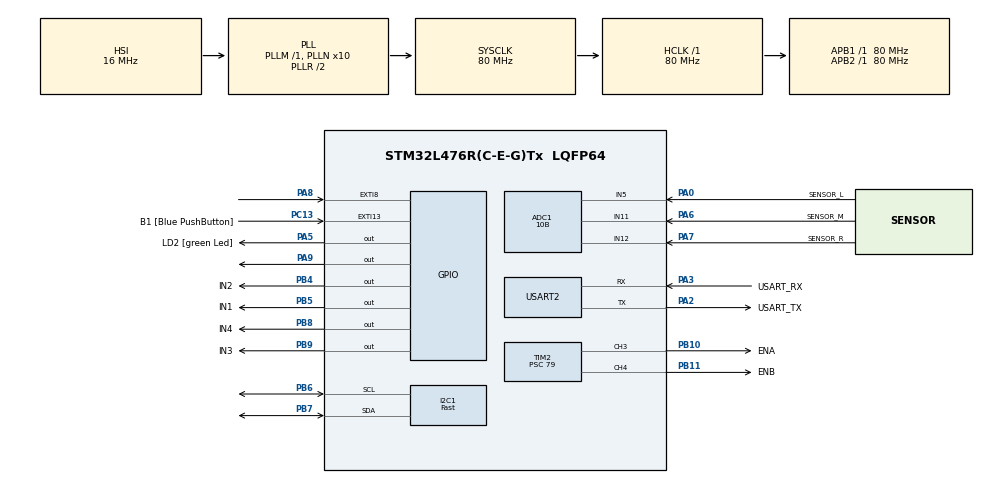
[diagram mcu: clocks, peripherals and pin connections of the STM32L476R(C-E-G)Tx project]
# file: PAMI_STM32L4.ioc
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ADC1.Channel-0\#ChannelRegularConversion=ADC_CHANNEL_5
ADC1.Channel-1\#ChannelRegularConversion=ADC_CHANNEL_11
ADC1.Channel-2\#ChannelRegularConversion=ADC_CHANNEL_12
ADC1.ContinuousConvMode=ENABLE
ADC1.DMAContinuousRequests=DISABLE
ADC1.NbrOfConversion=3
ADC1.NbrOfConversionFlag=1
ADC1.OffsetNumber-0\#ChannelRegularConversion=ADC_OFFSET_NONE
ADC1.OffsetNumber-1\#ChannelRegularConversion=ADC_OFFSET_NONE
ADC1.OffsetNumber-2\#ChannelRegularConversion=ADC_OFFSET_NONE
ADC1.Rank-0\#ChannelRegularConversion=1
ADC1.Rank-1\#ChannelRegularConversion=2
ADC1.Rank-2\#ChannelRegularConversion=3
ADC1.Resolution=ADC_RESOLUTION_10B
ADC1.SamplingTime-0\#ChannelRegularConversion=ADC_SAMPLETIME_247CYCLES_5
ADC1.SamplingTime-1\#ChannelRegularConversion=ADC_SAMPLETIME_247CYCLES_5
ADC1.SamplingTime-2\#ChannelRegularConversion=ADC_SAMPLETIME_247CYCLES_5
ADC1.master=1
I2C1.I2C_Speed_Mode=I2C_Fast
I2C1.Timing=0x00F12981
Mcu.Family=STM32L4
Mcu.Name=STM32L476R(C-E-G)Tx
Mcu.Package=LQFP64
NVIC.ADC1_2_IRQn=true\:1\:0\:true\:false\:true\:true\:true\:true
NVIC.EXTI9_5_IRQn=true\:0\:0\:false\:false\:true\:true\:true\:true
NVIC.PriorityGroup=NVIC_PRIORITYGROUP_4
NVIC.TIM2_IRQn=true\:0\:0\:false\:false\:true\:true\:true\:true
PA0.GPIO_Label=SENSOR_L
PA0.Signal=ADCx_IN5
PA13\ (JTMS-SWDIO).GPIO_Label=TMS
PA13\ (JTMS-SWDIO).Mode=Serial_Wire
PA13\ (JTMS-SWDIO).Signal=SYS_JTMS-SWDIO
PA14\ (JTCK-SWCLK).GPIO_Label=TCK
PA14\ (JTCK-SWCLK).Mode=Serial_Wire
PA14\ (JTCK-SWCLK).Signal=SYS_JTCK-SWCLK
PA2.GPIO_Label=USART_TX
PA2.GPIO_Mode=GPIO_MODE_AF_PP
PA2.GPIO_PuPd=GPIO_NOPULL
PA2.GPIO_Speed=GPIO_SPEED_FREQ_VERY_HIGH
PA2.Mode=Asynchronous
PA2.Signal=USART2_TX
PA3.GPIO_Label=USART_RX
PA3.GPIO_Mode=GPIO_MODE_AF_PP
PA3.GPIO_PuPd=GPIO_NOPULL
PA3.GPIO_Speed=GPIO_SPEED_FREQ_VERY_HIGH
PA3.Mode=Asynchronous
PA3.Signal=USART2_RX
PA5.GPIO_Label=LD2 [green Led]
PA5.GPIO_ModeDefaultOutputPP=GPIO_MODE_OUTPUT_PP
PA5.GPIO_PuPd=GPIO_NOPULL
PA5.GPIO_Speed=GPIO_SPEED_FREQ_LOW
PA5.Signal=GPIO_Output
PA6.GPIO_Label=SENSOR_M
PA6.Signal=ADCx_IN11
PA7.GPIO_Label=SENSOR_R
PA7.Signal=ADCx_IN12
PA8.GPIO_ModeDefaultEXTI=GPIO_MODE_IT_RISING_FALLING
PA8.Signal=GPXTI8
PA9.Signal=GPIO_Output
PB10.GPIO_Label=ENA
PB10.Signal=S_TIM2_CH3
PB11.GPIO_Label=ENB
PB11.Signal=S_TIM2_CH4
PB3\ (JTDO-TRACESWO).GPIO_Label=SWO
PB3\ (JTDO-TRACESWO).Signal=SYS_JTDO-SWO
PB4\ (NJTRST).GPIO_Label=IN2
PB4\ (NJTRST).Signal=GPIO_Output
PB5.GPIO_Label=IN1
PB5.Signal=GPIO_Output
PB6.Mode=I2C
PB6.Signal=I2C1_SCL
PB7.Mode=I2C
PB7.Signal=I2C1_SDA
PB8.GPIO_Label=IN4
PB8.Signal=GPIO_Output
PB9.GPIO_Label=IN3
PB9.Signal=GPIO_Output
PC13.GPIO_Label=B1 [Blue PushButton]
PC13.GPIO_ModeDefaultEXTI=GPIO_MODE_IT_FALLING
PC13.GPIO_PuPd=GPIO_NOPULL
PC13.Signal=GPXTI13
PC14-OSC32_IN\ (PC14).Mode=LSE-External-Oscillator
PC14-OSC32_IN\ (PC14).Signal=RCC_OSC32_IN
PC15-OSC32_OUT\ (PC15).Mode=LSE-External-Oscillator
PC15-OSC32_OUT\ (PC15).Signal=RCC_OSC32_OUT
PH0-OSC_IN\ (PH0).Mode=HSE-External-Oscillator
PH0-OSC_IN\ (PH0).Signal=RCC_OSC_IN
PH1-OSC_OUT\ (PH1).Mode=HSE-External-Oscillator
PH1-OSC_OUT\ (PH1).Signal=RCC_OSC_OUT
ProjectManager.HeapSize=0x200
ProjectManager.StackSize=0x400
ProjectManager.TargetToolchain=STM32CubeIDE
RCC.ADCFreq_Value=64000000
RCC.AHBFreq_Value=80000000
RCC.APB1Freq_Value=80000000
RCC.APB1TimFreq_Value=80000000
RCC.APB2Freq_Value=80000000
RCC.APB2TimFreq_Value=80000000
RCC.CortexFreq_Value=80000000
RCC.HCLKFreq_Value=80000000
RCC.HSE_VALUE=8000000
RCC.HSI_VALUE=16000000
RCC.MSI_VALUE=4000000
RCC.PLLN=10
RCC.PLLSourceVirtual=RCC_PLLSOURCE_HSI
RCC.PREFETCH_ENABLE=1
RCC.SYSCLKFreq_VALUE=80000000
RCC.SYSCLKSource=RCC_SYSCLKSOURCE_PLLCLK
RCC.USBFreq_Value=64000000
RCC.VCOOutputFreq_Value=160000000
SH.ADCx_IN11.0=ADC1_IN11,IN11-Single-Ended
SH.ADCx_IN12.0=ADC1_IN12,IN12-Single-Ended
SH.ADCx_IN5.0=ADC1_IN5,IN5-Single-Ended
SH.S_TIM2_CH3.0=TIM2_CH3,PWM Generation3 CH3
SH.S_TIM2_CH4.0=TIM2_CH4,PWM Generation4 CH4
TIM1.Prescaler=79
TIM2.Channel-PWM\ Generation3\ CH3=TIM_CHANNEL_3
TIM2.Channel-PWM\ Generation4\ CH4=TIM_CHANNEL_4
TIM2.Period=1999
TIM2.Prescaler=79
TIM2.TIM_MasterOutputTrigger=TIM_TRGO_UPDATE
USART2.VirtualMode-Asynchronous=VM_ASYNC
VP_TIM1_VS_ClockSourceINT.Mode=Internal
board=NUCLEO-L476RG

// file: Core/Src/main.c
/* USER CODE BEGIN Header */
/**
  ******************************************************************************
  * @file           : main.c
  * @brief          : Main program body
  ******************************************************************************
  * @attention
  *
  * Copyright (c) 2024 STMicroelectronics.
  * All rights reserved.
  *
  * This software is licensed under terms that can be found in the LICENSE file
  * in the root directory of this software component.
  * If no LICENSE file comes with this software, it is provided AS-IS.
  *
  ******************************************************************************
  */
/* USER CODE END Header */
#include "main.h"

/* USER CODE BEGIN Includes */
#include <stdio.h>
#include <string.h>
/* USER CODE END Includes */

ADC_HandleTypeDef hadc1;

I2C_HandleTypeDef hi2c1;

TIM_HandleTypeDef htim1;
TIM_HandleTypeDef htim2;

UART_HandleTypeDef huart2;

/* USER CODE BEGIN PV */

//For the Radar
#define TRIG_PIN GPIO_PIN_9
#define TRIG_PORT GPIOA
#define ECHO_PIN GPIO_PIN_8
#define ECHO_PORT GPIOA
// Initialize variables for the radar
uint32_t pMillis;
uint32_t Value1 = 0;
uint32_t Value2 = 0;
uint16_t Distance = 0;

/* USER CODE END PV */

void SystemClock_Config(void);
static void MX_GPIO_Init(void);
static void MX_USART2_UART_Init(void);
static void MX_ADC1_Init(void);
static void MX_I2C1_Init(void);
static void MX_TIM1_Init(void);
static void MX_TIM2_Init(void);

/* USER CODE BEGIN PFP */
ADC_ChannelConfTypeDef sConfig;
void HAL_GPIO_EXTI_Callback(uint16_t GPIO_Pin)
{
  static int threshold_state, timer_count;
  if((GPIO_Pin == ECHO_PIN)&&(threshold_state==0)){
	  threshold_state =1;
	  timer_count = __HAL_TIM_GET_COUNTER (&htim1);
  }else if((GPIO_Pin==ECHO_PIN) && (threshold_state ==1)){
	  threshold_state = 0;
	  //int time = (__HAL_TIM_GET_COUNTER (&htim1) - timer_count);
	  Distance = (__HAL_TIM_GET_COUNTER (&htim1) - timer_count)*0.034/2;
	  //__HAL_TIM_SET_COUNTER (&htim1, 0);
  }
}
/* USER CODE END PFP */

/* USER CODE BEGIN 0 */
int __io_putchar(int ch)
{
  HAL_UART_Transmit(&huart2, (uint8_t *)&ch, 1, HAL_MAX_DELAY);
  return ch;
}

// I couldn't configure the ioc file properly with DMAs, so I'm gonna just manually initialise those each time, here's the functions to do so :
// note: they're copied, slightly modified and pasted from lines 382-409 down this file
void ADC_Select_CH1(void){
	/** Configure Regular Channel
	  */
	sConfig.Channel = ADC_CHANNEL_5;
	sConfig.Rank = 1;
	sConfig.SamplingTime = ADC_SAMPLETIME_247CYCLES_5;
	sConfig.SingleDiff = ADC_SINGLE_ENDED;
	sConfig.OffsetNumber = ADC_OFFSET_NONE;
	sConfig.Offset = 0;
	if (HAL_ADC_ConfigChannel(&hadc1, &sConfig) != HAL_OK)
	{
	  Error_Handler();
	}
}
void ADC_Select_CH2(void){

	  /** Configure Regular Channel
	  */
	  sConfig.Channel = ADC_CHANNEL_11;
	  sConfig.Rank = 1;
	  sConfig.SamplingTime = ADC_SAMPLETIME_247CYCLES_5;
	  sConfig.SingleDiff = ADC_SINGLE_ENDED;
	  sConfig.OffsetNumber = ADC_OFFSET_NONE;
	  sConfig.Offset = 0;
	  if (HAL_ADC_ConfigChannel(&hadc1, &sConfig) != HAL_OK)
	  {
	    Error_Handler();
	  }
}

void ADC_Select_CH3(void){
	/** Configure Regular Channel
		  */
		  sConfig.Channel = ADC_CHANNEL_12;
		  sConfig.Rank = 1;
		  sConfig.SamplingTime = ADC_SAMPLETIME_247CYCLES_5;
		  sConfig.SingleDiff = ADC_SINGLE_ENDED;
		  sConfig.OffsetNumber = ADC_OFFSET_NONE;
		  sConfig.Offset = 0;
		  if (HAL_ADC_ConfigChannel(&hadc1, &sConfig) != HAL_OK)
		  {
		    Error_Handler();
		  }
}

uint16_t ADC_VAL[3]; // Array that stores values of those three line traking sensors

int started_to_turn_right =0;
int started_to_turn_left =0;

/* USER CODE END 0 */

int main(void)
{

  /* MCU Configuration--------------------------------------------------------*/

  /* Reset of all peripherals, Initializes the Flash interface and the Systick. */
  HAL_Init();

  /* Configure the system clock */
  SystemClock_Config();

  /* Initialize all configured peripherals */
  MX_GPIO_Init();
  MX_USART2_UART_Init();
  MX_ADC1_Init();
  MX_I2C1_Init();
  MX_TIM1_Init();
  MX_TIM2_Init();
  /* USER CODE BEGIN 2 */
  HAL_TIM_Base_Start(&htim1);
  HAL_GPIO_WritePin(TRIG_PORT, TRIG_PIN, GPIO_PIN_RESET); //pull the TRIG pin low
  HAL_ADCEx_Calibration_Start(&hadc1, ADC_SINGLE_ENDED); //for sensors calibration

  HAL_TIM_PWM_Start(&htim2, TIM_CHANNEL_3); //PB10 TIM2 CH3
  HAL_TIM_PWM_Start(&htim2, TIM_CHANNEL_4); //PB11 TIM2 CH4

  int threshold = 500;  //the threshold for line tracking
  //Stop the motor
  HAL_GPIO_WritePin(GPIOB, GPIO_PIN_4, 0);
  HAL_GPIO_WritePin(GPIOB, GPIO_PIN_5, 0);
  HAL_GPIO_WritePin(GPIOB, GPIO_PIN_8, 0);
  HAL_GPIO_WritePin(GPIOB, GPIO_PIN_9, 0);

  int count_time_init =0;
  int count_time_actu =0;
  /* USER CODE END 2 */

  /* Infinite loop */
  /* USER CODE BEGIN WHILE */

  while (1)
  {
	  // The code for the radar, it prints the distance
	  HAL_GPIO_WritePin(TRIG_PORT, TRIG_PIN, GPIO_PIN_SET);  // pull the TRIG pin HIGH
	  //__HAL_TIM_SET_COUNTER(&htim1, 0);
	  while (__HAL_TIM_GET_COUNTER (&htim1) < 10);  // wait for 10 us
	  HAL_GPIO_WritePin(TRIG_PORT, TRIG_PIN, GPIO_PIN_RESET);  // pull the TRIG pin low
	  __HAL_TIM_SET_COUNTER(&htim1, 0);

	  //Lign tracker part
	  ADC_Select_CH1();
	  HAL_ADC_Start(&hadc1);
	  HAL_ADC_PollForConversion(&hadc1, 1000);
	  ADC_VAL[0] = HAL_ADC_GetValue(&hadc1);
	  HAL_ADC_Stop(&hadc1);

	  ADC_Select_CH2();
	  HAL_ADC_Start(&hadc1);
	  HAL_ADC_PollForConversion(&hadc1, 1000);
	  ADC_VAL[1] = HAL_ADC_GetValue(&hadc1);
	  HAL_ADC_Stop(&hadc1);

	  ADC_Select_CH3();
	  HAL_ADC_Start(&hadc1);
	  HAL_ADC_PollForConversion(&hadc1, 1000);
	  ADC_VAL[2] = HAL_ADC_GetValue(&hadc1);
	  HAL_ADC_Stop(&hadc1);
	  //printf("Left : %d, Mid: %d, Right: %d \r\n", ADC_VAL[0], ADC_VAL[1], ADC_VAL[2]);

	  if(((ADC_VAL[0]<threshold) &&(ADC_VAL[1]>threshold) && (ADC_VAL[2]<threshold))&&(Distance>10)){
		  //Set the rotation direction forward
		  HAL_GPIO_WritePin(GPIOB, GPIO_PIN_4, 0);
		  HAL_GPIO_WritePin(GPIOB, GPIO_PIN_5, 1);
		  HAL_GPIO_WritePin(GPIOB, GPIO_PIN_8, 1);
		  HAL_GPIO_WritePin(GPIOB, GPIO_PIN_9, 0);
		  // Set the speed
		  __HAL_TIM_SET_COMPARE(&htim2,TIM_CHANNEL_3, 1500);
		  __HAL_TIM_SET_COMPARE(&htim2,TIM_CHANNEL_4,1400);
		  count_time_actu =HAL_GetTick();
		  count_time_init =HAL_GetTick();
		  started_to_turn_right = 0;
		  started_to_turn_left = 0;
	  }else if(( (ADC_VAL[0]>threshold)&&(Distance>10)) || (started_to_turn_left==1)){
		  //Stop the left motor
		  HAL_GPIO_WritePin(GPIOB, GPIO_PIN_4, 0);
		  HAL_GPIO_WritePin(GPIOB, GPIO_PIN_5, 1);
		  //right motor rotate foward
		  HAL_GPIO_WritePin(GPIOB, GPIO_PIN_8, 0);
		  HAL_GPIO_WritePin(GPIOB, GPIO_PIN_9, 0); //modif
		  // Set the speed

		  __HAL_TIM_SET_COMPARE(&htim2,TIM_CHANNEL_4, 1000);
		  count_time_actu =HAL_GetTick();
		  count_time_init =HAL_GetTick();
		  started_to_turn_left = 1;
	  }else if(((ADC_VAL[2]>threshold)&&(Distance>10))|| (started_to_turn_right==1)){
		  //left motor rotate foward
		  HAL_GPIO_WritePin(GPIOB, GPIO_PIN_4, 0);  //modif
		  HAL_GPIO_WritePin(GPIOB, GPIO_PIN_5, 0);
		  //Stop the right motor
		  HAL_GPIO_WritePin(GPIOB, GPIO_PIN_8, 1);
		  HAL_GPIO_WritePin(GPIOB, GPIO_PIN_9, 0);
		  // Set the speed
		  __HAL_TIM_SET_COMPARE(&htim2,TIM_CHANNEL_3,1000);

		  count_time_actu =HAL_GetTick();
		  count_time_init =HAL_GetTick();
		  started_to_turn_right = 1;
	  }
	  if(Distance<10){
		  //Stop both motors
		  HAL_GPIO_WritePin(GPIOB, GPIO_PIN_4, 0);
		  HAL_GPIO_WritePin(GPIOB, GPIO_PIN_5, 0);
		  HAL_GPIO_WritePin(GPIOB, GPIO_PIN_8, 0);
		  HAL_GPIO_WritePin(GPIOB, GPIO_PIN_9, 0);
		  count_time_actu =HAL_GetTick();
		  count_time_init =HAL_GetTick();
	  }
	  if(((ADC_VAL[0]<threshold) &&(ADC_VAL[1]<threshold) && (ADC_VAL[2]<threshold))){
	  		  //Set the rotation direction forward
		  	  count_time_actu = HAL_GetTick();
	  		  //if((count_time_actu-count_time_init) !=0){count_time_init =count_time_actu;}
	  		  //printf("count_time_init-HAL_GetTick() = %d \r\n",(count_time_actu-count_time_init));
	  		  if (HAL_GetTick()-count_time_init >800 ){
	  			//Stop both motors
	  			  	  	  //printf("jarrrettee \r\n");
	  					  HAL_GPIO_WritePin(GPIOB, GPIO_PIN_4, 0);
	  					  HAL_GPIO_WritePin(GPIOB, GPIO_PIN_5, 0);
	  					  HAL_GPIO_WritePin(GPIOB, GPIO_PIN_8, 0);
	  					  HAL_GPIO_WritePin(GPIOB, GPIO_PIN_9, 0);
	  					  count_time_init = count_time_actu;
	  		  }
	  }

	  HAL_Delay(5); //If I don't add this the detection with ultrasound might cause pb with relatively long ditances
    // The sound needs time to travel, here each iteration is 20ms, might be too quick, so HAL_Delay here works just fine.

    /* USER CODE END WHILE */

  }
}

void SystemClock_Config(void)
{
  RCC_OscInitTypeDef RCC_OscInitStruct = {0};
  RCC_ClkInitTypeDef RCC_ClkInitStruct = {0};

  /** Configure the main internal regulator output voltage
  */
  if (HAL_PWREx_ControlVoltageScaling(PWR_REGULATOR_VOLTAGE_SCALE1) != HAL_OK)
  {
    Error_Handler();
  }

  /** Initializes the RCC Oscillators according to the specified parameters
  * in the RCC_OscInitTypeDef structure.
  */
  RCC_OscInitStruct.OscillatorType = RCC_OSCILLATORTYPE_HSI;
  RCC_OscInitStruct.HSIState = RCC_HSI_ON;
  RCC_OscInitStruct.HSICalibrationValue = RCC_HSICALIBRATION_DEFAULT;
  RCC_OscInitStruct.PLL.PLLState = RCC_PLL_ON;
  RCC_OscInitStruct.PLL.PLLSource = RCC_PLLSOURCE_HSI;
  RCC_OscInitStruct.PLL.PLLM = 1;
  RCC_OscInitStruct.PLL.PLLN = 10;
  RCC_OscInitStruct.PLL.PLLP = RCC_PLLP_DIV7;
  RCC_OscInitStruct.PLL.PLLQ = RCC_PLLQ_DIV2;
  RCC_OscInitStruct.PLL.PLLR = RCC_PLLR_DIV2;
  if (HAL_RCC_OscConfig(&RCC_OscInitStruct) != HAL_OK)
  {
    Error_Handler();
  }

  /** Initializes the CPU, AHB and APB buses clocks
  */
  RCC_ClkInitStruct.ClockType = RCC_CLOCKTYPE_HCLK|RCC_CLOCKTYPE_SYSCLK
                              |RCC_CLOCKTYPE_PCLK1|RCC_CLOCKTYPE_PCLK2;
  RCC_ClkInitStruct.SYSCLKSource = RCC_SYSCLKSOURCE_PLLCLK;
  RCC_ClkInitStruct.AHBCLKDivider = RCC_SYSCLK_DIV1;
  RCC_ClkInitStruct.APB1CLKDivider = RCC_HCLK_DIV1;
  RCC_ClkInitStruct.APB2CLKDivider = RCC_HCLK_DIV1;

  if (HAL_RCC_ClockConfig(&RCC_ClkInitStruct, FLASH_LATENCY_4) != HAL_OK)
  {
    Error_Handler();
  }
}

static void MX_ADC1_Init(void)
{

  ADC_MultiModeTypeDef multimode = {0};
  ADC_ChannelConfTypeDef sConfig = {0};

  /** Common config
  */
  hadc1.Instance = ADC1;
  hadc1.Init.ClockPrescaler = ADC_CLOCK_ASYNC_DIV1;
  hadc1.Init.Resolution = ADC_RESOLUTION_10B;
  hadc1.Init.DataAlign = ADC_DATAALIGN_RIGHT;
  hadc1.Init.ScanConvMode = ADC_SCAN_ENABLE;
  hadc1.Init.EOCSelection = ADC_EOC_SINGLE_CONV;
  hadc1.Init.LowPowerAutoWait = DISABLE;
  hadc1.Init.ContinuousConvMode = ENABLE;
  hadc1.Init.NbrOfConversion = 3;
  hadc1.Init.DiscontinuousConvMode = DISABLE;
  hadc1.Init.ExternalTrigConv = ADC_SOFTWARE_START;
  hadc1.Init.ExternalTrigConvEdge = ADC_EXTERNALTRIGCONVEDGE_NONE;
  hadc1.Init.DMAContinuousRequests = DISABLE;
  hadc1.Init.Overrun = ADC_OVR_DATA_PRESERVED;
  hadc1.Init.OversamplingMode = DISABLE;
  if (HAL_ADC_Init(&hadc1) != HAL_OK)
  {
    Error_Handler();
  }

  /** Configure the ADC multi-mode
  */
  multimode.Mode = ADC_MODE_INDEPENDENT;
  if (HAL_ADCEx_MultiModeConfigChannel(&hadc1, &multimode) != HAL_OK)
  {
    Error_Handler();
  }

  /** Configure Regular Channel
  */
  sConfig.Channel = ADC_CHANNEL_5;
  sConfig.Rank = ADC_REGULAR_RANK_1;
  sConfig.SamplingTime = ADC_SAMPLETIME_247CYCLES_5;
  sConfig.SingleDiff = ADC_SINGLE_ENDED;
  sConfig.OffsetNumber = ADC_OFFSET_NONE;
  sConfig.Offset = 0;
  if (HAL_ADC_ConfigChannel(&hadc1, &sConfig) != HAL_OK)
  {
    Error_Handler();
  }

  /** Configure Regular Channel
  */
  sConfig.Channel = ADC_CHANNEL_11;
  sConfig.Rank = ADC_REGULAR_RANK_2;
  if (HAL_ADC_ConfigChannel(&hadc1, &sConfig) != HAL_OK)
  {
    Error_Handler();
  }

  /** Configure Regular Channel
  */
  sConfig.Channel = ADC_CHANNEL_12;
  sConfig.Rank = ADC_REGULAR_RANK_3;
  if (HAL_ADC_ConfigChannel(&hadc1, &sConfig) != HAL_OK)
  {
    Error_Handler();
  }

}

static void MX_I2C1_Init(void)
{

  hi2c1.Instance = I2C1;
  hi2c1.Init.Timing = 0x00F12981;
  hi2c1.Init.OwnAddress1 = 0;
  hi2c1.Init.AddressingMode = I2C_ADDRESSINGMODE_7BIT;
  hi2c1.Init.DualAddressMode = I2C_DUALADDRESS_DISABLE;
  hi2c1.Init.OwnAddress2 = 0;
  hi2c1.Init.OwnAddress2Masks = I2C_OA2_NOMASK;
  hi2c1.Init.GeneralCallMode = I2C_GENERALCALL_DISABLE;
  hi2c1.Init.NoStretchMode = I2C_NOSTRETCH_DISABLE;
  if (HAL_I2C_Init(&hi2c1) != HAL_OK)
  {
    Error_Handler();
  }

  /** Configure Analogue filter
  */
  if (HAL_I2CEx_ConfigAnalogFilter(&hi2c1, I2C_ANALOGFILTER_ENABLE) != HAL_OK)
  {
    Error_Handler();
  }

  /** Configure Digital filter
  */
  if (HAL_I2CEx_ConfigDigitalFilter(&hi2c1, 0) != HAL_OK)
  {
    Error_Handler();
  }

}

static void MX_TIM1_Init(void)
{

  TIM_ClockConfigTypeDef sClockSourceConfig = {0};
  TIM_MasterConfigTypeDef sMasterConfig = {0};

  htim1.Instance = TIM1;
  htim1.Init.Prescaler = 79;
  htim1.Init.CounterMode = TIM_COUNTERMODE_UP;
  htim1.Init.Period = 65535;
  htim1.Init.ClockDivision = TIM_CLOCKDIVISION_DIV1;
  htim1.Init.RepetitionCounter = 0;
  htim1.Init.AutoReloadPreload = TIM_AUTORELOAD_PRELOAD_DISABLE;
  if (HAL_TIM_Base_Init(&htim1) != HAL_OK)
  {
    Error_Handler();
  }
  sClockSourceConfig.ClockSource = TIM_CLOCKSOURCE_INTERNAL;
  if (HAL_TIM_ConfigClockSource(&htim1, &sClockSourceConfig) != HAL_OK)
  {
    Error_Handler();
  }
  sMasterConfig.MasterOutputTrigger = TIM_TRGO_RESET;
  sMasterConfig.MasterOutputTrigger2 = TIM_TRGO2_RESET;
  sMasterConfig.MasterSlaveMode = TIM_MASTERSLAVEMODE_DISABLE;
  if (HAL_TIMEx_MasterConfigSynchronization(&htim1, &sMasterConfig) != HAL_OK)
  {
    Error_Handler();
  }

}

static void MX_TIM2_Init(void)
{

  TIM_MasterConfigTypeDef sMasterConfig = {0};
  TIM_OC_InitTypeDef sConfigOC = {0};

  htim2.Instance = TIM2;
  htim2.Init.Prescaler = 79;
  htim2.Init.CounterMode = TIM_COUNTERMODE_UP;
  htim2.Init.Period = 1999;
  htim2.Init.ClockDivision = TIM_CLOCKDIVISION_DIV1;
  htim2.Init.AutoReloadPreload = TIM_AUTORELOAD_PRELOAD_DISABLE;
  if (HAL_TIM_PWM_Init(&htim2) != HAL_OK)
  {
    Error_Handler();
  }
  sMasterConfig.MasterOutputTrigger = TIM_TRGO_UPDATE;
  sMasterConfig.MasterSlaveMode = TIM_MASTERSLAVEMODE_DISABLE;
  if (HAL_TIMEx_MasterConfigSynchronization(&htim2, &sMasterConfig) != HAL_OK)
  {
    Error_Handler();
  }
  sConfigOC.OCMode = TIM_OCMODE_PWM1;
  sConfigOC.Pulse = 0;
  sConfigOC.OCPolarity = TIM_OCPOLARITY_HIGH;
  sConfigOC.OCFastMode = TIM_OCFAST_DISABLE;
  if (HAL_TIM_PWM_ConfigChannel(&htim2, &sConfigOC, TIM_CHANNEL_3) != HAL_OK)
  {
    Error_Handler();
  }
  if (HAL_TIM_PWM_ConfigChannel(&htim2, &sConfigOC, TIM_CHANNEL_4) != HAL_OK)
  {
    Error_Handler();
  }
  HAL_TIM_MspPostInit(&htim2);

}

static void MX_USART2_UART_Init(void)
{

  huart2.Instance = USART2;
  huart2.Init.BaudRate = 115200;
  huart2.Init.WordLength = UART_WORDLENGTH_8B;
  huart2.Init.StopBits = UART_STOPBITS_1;
  huart2.Init.Parity = UART_PARITY_NONE;
  huart2.Init.Mode = UART_MODE_TX_RX;
  huart2.Init.HwFlowCtl = UART_HWCONTROL_NONE;
  huart2.Init.OverSampling = UART_OVERSAMPLING_16;
  huart2.Init.OneBitSampling = UART_ONE_BIT_SAMPLE_DISABLE;
  huart2.AdvancedInit.AdvFeatureInit = UART_ADVFEATURE_NO_INIT;
  if (HAL_UART_Init(&huart2) != HAL_OK)
  {
    Error_Handler();
  }

}

static void MX_GPIO_Init(void)
{
  GPIO_InitTypeDef GPIO_InitStruct = {0};

  /* GPIO Ports Clock Enable */
  __HAL_RCC_GPIOC_CLK_ENABLE();
  __HAL_RCC_GPIOH_CLK_ENABLE();
  __HAL_RCC_GPIOA_CLK_ENABLE();
  __HAL_RCC_GPIOB_CLK_ENABLE();

  /*Configure GPIO pin Output Level */
  HAL_GPIO_WritePin(GPIOA, LD2_Pin|GPIO_PIN_9, GPIO_PIN_RESET);

  /*Configure GPIO pin Output Level */
  HAL_GPIO_WritePin(GPIOB, IN2_Pin|IN1_Pin|IN4_Pin|IN3_Pin, GPIO_PIN_RESET);

  /*Configure GPIO pin : B1_Pin */
  GPIO_InitStruct.Pin = B1_Pin;
  GPIO_InitStruct.Mode = GPIO_MODE_IT_FALLING;
  GPIO_InitStruct.Pull = GPIO_NOPULL;
  HAL_GPIO_Init(B1_GPIO_Port, &GPIO_InitStruct);

  /*Configure GPIO pins : LD2_Pin PA9 */
  GPIO_InitStruct.Pin = LD2_Pin|GPIO_PIN_9;
  GPIO_InitStruct.Mode = GPIO_MODE_OUTPUT_PP;
  GPIO_InitStruct.Pull = GPIO_NOPULL;
  GPIO_InitStruct.Speed = GPIO_SPEED_FREQ_LOW;
  HAL_GPIO_Init(GPIOA, &GPIO_InitStruct);

  /*Configure GPIO pin : PA8 */
  GPIO_InitStruct.Pin = GPIO_PIN_8;
  GPIO_InitStruct.Mode = GPIO_MODE_IT_RISING_FALLING;
  GPIO_InitStruct.Pull = GPIO_NOPULL;
  HAL_GPIO_Init(GPIOA, &GPIO_InitStruct);

  /*Configure GPIO pins : IN2_Pin IN1_Pin IN4_Pin IN3_Pin */
  GPIO_InitStruct.Pin = IN2_Pin|IN1_Pin|IN4_Pin|IN3_Pin;
  GPIO_InitStruct.Mode = GPIO_MODE_OUTPUT_PP;
  GPIO_InitStruct.Pull = GPIO_NOPULL;
  GPIO_InitStruct.Speed = GPIO_SPEED_FREQ_LOW;
  HAL_GPIO_Init(GPIOB, &GPIO_InitStruct);

  /* EXTI interrupt init*/
  HAL_NVIC_SetPriority(EXTI9_5_IRQn, 0, 0);
  HAL_NVIC_EnableIRQ(EXTI9_5_IRQn);

}

void Error_Handler(void)
{
  __disable_irq();
  while (1)
  {
  }
}
